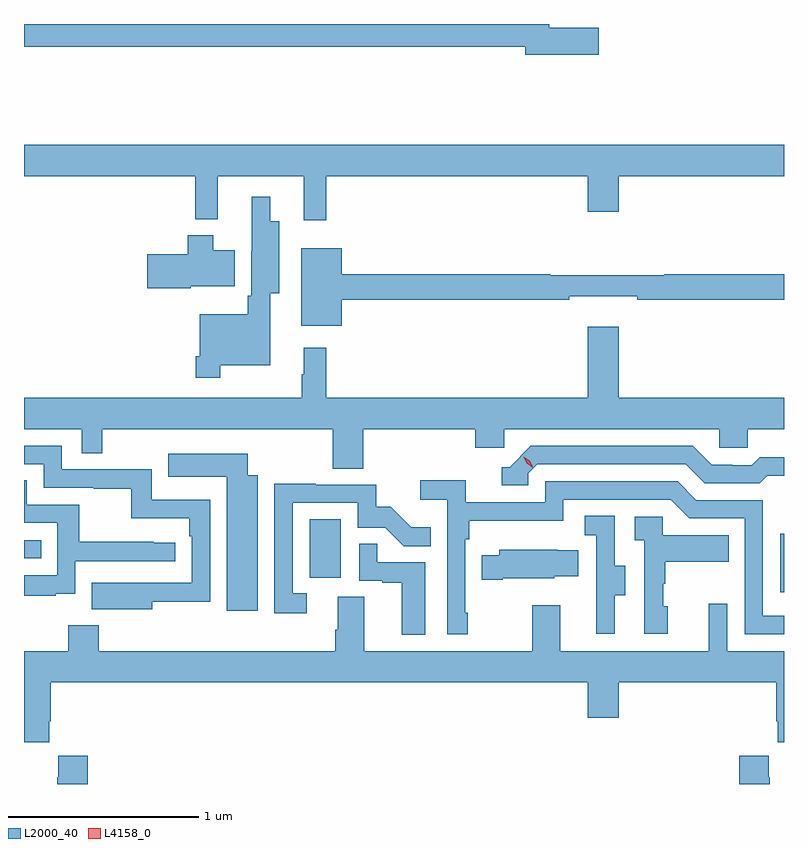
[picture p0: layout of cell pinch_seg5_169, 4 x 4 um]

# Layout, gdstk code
import gdstk
lib = gdstk.Library(unit=1e-6, precision=1e-09)
def R(c, l, rs):  # rectangles x0, y0, x1, y1
    for r in rs: c.add(gdstk.rectangle(r[:2], r[2:], *l))
def P(c, l, *ps):  # polygons
    for p in ps: c.add(gdstk.Polygon(p, *l))
L2000_40 = (2000, 40)
L4158_0 = (4158, 0)

pinch_seg5_169 = lib.new_cell('pinch_seg5_169')
R(pinch_seg5_169, L2000_40, [(1125.06,878.544,1125.081,878.854), (1122.584,878.622,1122.748,878.929), (1121.081,878.724,1121.171,878.82)])
P(pinch_seg5_169, L2000_40, [(1124.107,881.516),(1123.846,881.516),(1123.846,881.536),(1121.081,881.536),(1121.081,881.416),(1123.718,881.416),(1123.718,881.374),(1124.107,881.374)],
  [(1122.671,880.736),(1124.048,880.736),(1124.048,880.548),(1124.212,880.548),(1124.212,880.736),(1125.081,880.736),(1125.081,880.9),(1121.081,880.9),(1121.081,880.736),(1121.983,880.736),(1121.983,880.508),(1122.101,880.508),(1122.101,880.736),(1122.554,880.736),(1122.554,880.503),(1122.671,880.503)],
  [(1122.115,879.74),(1122.376,879.74),(1122.376,880.118),(1122.424,880.118),(1122.424,880.498),(1122.377,880.498),(1122.377,880.627),(1122.279,880.627),(1122.279,880.341),(1122.278,880.341),(1122.278,880.105),(1122.259,880.105),(1122.259,880.009),(1122.006,880.009),(1122.006,879.787),(1121.986,879.787),(1121.986,879.675),(1122.115,879.675)],
  [(1121.958,880.157),(1122.19,880.157),(1122.19,880.345),(1122.076,880.345),(1122.076,880.423),(1121.942,880.423),(1121.942,880.323),(1121.73,880.323),(1121.73,880.145),(1121.958,880.145)],
  [(1122.754,880.084),(1123.952,880.084),(1123.952,880.103),(1124.308,880.103),(1124.308,880.084),(1125.081,880.084),(1125.081,880.22),(1124.45,880.22),(1124.45,880.213),(1123.85,880.213),(1123.85,880.22),(1122.754,880.22),(1122.754,880.357),(1122.539,880.357),(1122.539,879.947),(1122.754,879.947)],
  [(1122.866,879.404),(1123.457,879.404),(1123.457,879.306),(1123.608,879.306),(1123.608,879.404),(1124.739,879.404),(1124.739,879.306),(1124.889,879.306),(1124.889,879.404),(1125.081,879.404),(1125.081,879.568),(1124.212,879.568),(1124.212,879.943),(1124.048,879.943),(1124.048,879.568),(1122.671,879.568),(1122.671,879.832),(1122.554,879.832),(1122.554,879.692),(1122.543,879.692),(1122.543,879.568),(1121.081,879.568),(1121.081,879.404),(1121.385,879.404),(1121.385,879.277),(1121.494,879.277),(1121.494,879.404),(1122.706,879.404),(1122.706,879.196),(1122.866,879.196)],
  [(1123.734,879.171),(1123.782,879.219),(1124.565,879.219),(1124.664,879.12),(1124.953,879.12),(1124.992,879.159),(1125.081,879.159),(1125.081,879.256),(1124.953,879.256),(1124.911,879.213),(1124.808,879.213),(1124.808,879.216),(1124.701,879.216),(1124.602,879.315),(1123.749,879.315),(1123.638,879.204),(1123.595,879.204),(1123.595,879.108),(1123.734,879.108)],
  [(1121.755,878.494),(1122.06,878.494),(1122.06,879.033),(1121.754,879.033),(1121.754,879.192),(1121.28,879.192),(1121.28,879.315),(1121.081,879.315),(1121.081,879.219),(1121.184,879.219),(1121.184,879.096),(1121.449,879.096),(1121.449,879.091),(1121.646,879.091),(1121.646,878.936),(1121.951,878.936),(1121.951,878.84),(1121.964,878.84),(1121.964,878.595),(1121.651,878.595),(1121.651,878.596),(1121.437,878.596),(1121.437,878.456),(1121.755,878.456)],
  [(1122.31,879.16),(1122.259,879.16),(1122.259,879.274),(1121.839,879.274),(1121.839,879.152),(1122.149,879.152),(1122.149,878.448),(1122.31,878.448)],
  [(1123.417,878.437),(1123.404,878.437),(1123.404,878.825),(1123.424,878.825),(1123.424,878.921),(1123.92,878.921),(1123.92,879.033),(1124.484,879.033),(1124.583,878.934),(1124.874,878.934),(1124.874,878.325),(1125.081,878.325),(1125.081,878.421),(1124.97,878.421),(1124.97,879.03),(1124.62,879.03),(1124.521,879.129),(1123.824,879.129),(1123.824,879.018),(1123.406,879.018),(1123.406,879.134),(1123.167,879.134),(1123.167,879.032),(1123.308,879.032),(1123.308,878.325),(1123.417,878.325)],
  [(1121.249,878.537),(1121.352,878.537),(1121.352,878.709),(1121.878,878.709),(1121.878,878.805),(1121.765,878.805),(1121.765,878.81),(1121.372,878.81),(1121.372,879.006),(1121.095,879.006),(1121.095,879.134),(1121.081,879.134),(1121.081,878.91),(1121.256,878.91),(1121.256,878.634),(1121.081,878.634),(1121.081,878.526),(1121.249,878.526)],
  [(1122.568,878.541),(1122.495,878.541),(1122.495,879.015),(1122.837,879.015),(1122.837,878.886),(1122.982,878.886),(1123.08,878.788),(1123.223,878.788),(1123.223,878.887),(1123.119,878.887),(1123.012,878.994),(1122.936,878.994),(1122.936,879.111),(1122.617,879.111),(1122.617,879.116),(1122.399,879.116),(1122.399,878.436),(1122.568,878.436)],
  [(1124.191,878.53),(1124.245,878.53),(1124.245,878.685),(1124.19,878.685),(1124.19,878.948),(1124.031,878.948),(1124.031,878.845),(1124.094,878.845),(1124.094,878.541),(1124.093,878.541),(1124.093,878.328),(1124.191,878.328)],
  [(1124.47,878.472),(1124.445,878.472),(1124.445,878.591),(1124.455,878.591),(1124.455,878.705),(1124.789,878.705),(1124.789,878.845),(1124.442,878.845),(1124.442,878.943),(1124.295,878.943),(1124.295,878.819),(1124.346,878.819),(1124.346,878.328),(1124.47,878.328)],
  [(1123.192,878.703),(1122.941,878.703),(1122.941,878.801),(1122.846,878.801),(1122.846,878.607),(1122.967,878.607),(1122.967,878.595),(1123.07,878.595),(1123.07,878.321),(1123.192,878.321)],
  [(1123.6,878.618),(1123.872,878.618),(1123.872,878.63),(1123.997,878.63),(1123.997,878.767),(1123.889,878.767),(1123.889,878.77),(1123.583,878.77),(1123.583,878.74),(1123.489,878.74),(1123.489,878.611),(1123.6,878.611)],
  [(1121.215,877.867),(1121.222,877.867),(1121.222,878.072),(1124.048,878.072),(1124.048,877.884),(1124.212,877.884),(1124.212,878.072),(1125.041,878.072),(1125.041,877.867),(1125.047,877.867),(1125.047,877.755),(1125.081,877.755),(1125.081,878.236),(1124.781,878.236),(1124.781,878.485),(1124.684,878.485),(1124.684,878.236),(1123.903,878.236),(1123.903,878.476),(1123.756,878.476),(1123.756,878.236),(1122.871,878.236),(1122.871,878.522),(1122.731,878.522),(1122.731,878.348),(1122.719,878.348),(1122.719,878.236),(1121.474,878.236),(1121.474,878.371),(1121.314,878.371),(1121.314,878.236),(1121.081,878.236),(1121.081,877.755),(1121.215,877.755)],
  [(1125.006,877.571),(1125.001,877.571),(1125.001,877.684),(1124.846,877.684),(1124.846,877.536),(1125.006,877.536)],
  [(1121.417,877.684),(1121.261,877.684),(1121.261,877.571),(1121.257,877.571),(1121.257,877.536),(1121.417,877.536)])
P(pinch_seg5_169, L4158_0, [(1123.757,879.204),(1123.727,879.224),(1123.711,879.258),(1123.711,879.258),(1123.712,879.258),(1123.742,879.238),(1123.758,879.204),(1123.758,879.204)])

lib.write_gds('pinch_seg5_169.gds')
